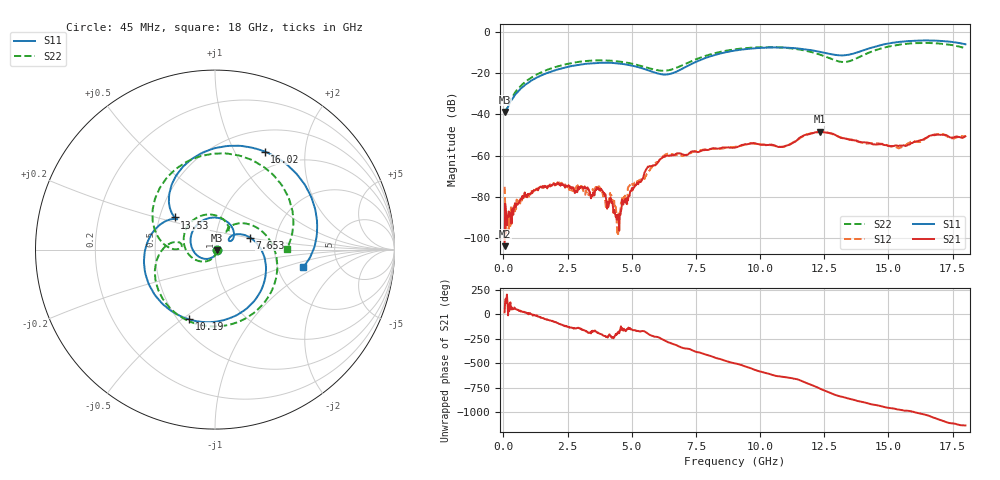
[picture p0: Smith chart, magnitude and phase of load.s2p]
!Agilent Technologies,E8364A,US41440284,A.06.04.32
!Agilent E8364A: A.06.04.32
!Date: Friday, December 06, 2019 10:02:57
!Correction: S11(Full 2 Port(1,2)) S21(Full 2 Port(1,2)) S12(Full 2 Port(1,2)) S22(Full 2 Port(1,2))
!S2P File: Measurements: S11, S21, S12, S22:
# Hz S  MA  R 50
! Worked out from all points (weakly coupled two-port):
!   801 points, 45 MHz to 18 GHz, reference 50 ohm
!   highest |S21| = -48.34 dB at 12.34 GHz (marker M1); lowest = -103.8 dB at 45 MHz (marker M2)
!   lowest |S11| = -38.8 dB at 45 MHz (marker M3), VSWR 1.02, Z = 51.1 - j0.371 ohm
!   |S11| at or under -10 dB: start of sweep to 8.612 GHz; 12.46 GHz to 13.77 GHz (1.314 GHz wide, 10 % of centre)
!   |S22| runs from -39.9 to -5.3 dB; largest |S21 - S12| = 0.00032
!   S11 on the Smith chart (normalised r, x): 45 MHz: 1.02, -0.01; 7.653 GHz: 1.47, +0.21; 10.19 GHz: 0.57, -0.53; 13.53 GHz: 0.60, +0.23; 16.02 GHz: 0.76, +1.33; 18 GHz: 2.79, -0.74
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4.5e7  0.01148 -18.4  6.438e-06 18.5  0.0001766 80.8  0.01008 -24.4
4.93875e8  0.03227 -90.8  6.739e-05 49.5  5.184e-05 35.5  0.03716 -93.8
1.032525e9  0.06295 -126.0  0.0001194 10.8  0.0001173 9.8  0.07415 -122.2
2.177156e9  0.1258 178.7  0.000198 -101.7  0.0002243 -100.4  0.1506 -170.7
3.052462e9  0.1639 137.3  0.000178 -160.9  0.0001667 -170.7  0.1923 152.2
3.45645e9  0.1741 118.3  0.0001035 178.2  0.0001377 -167.7  0.2021 134.8
3.680888e9  0.1774 107.7  0.0001555 172.4  0.0001773 168.7  0.2044 125.1
4.017544e9  0.1789 92.0  7.384e-05 125.8  7.987e-05 154.5  0.203 110.6
4.825519e9  0.161 56.6  9.494e-05 -153.9  6.695e-05 176.1  0.1786 77.8
5.61105e9  0.1191 31.4  0.0005292 164.7  0.0003705 166.4  0.1354 55.5
6.037481e9  0.0974 29.0  0.00072 123.1  0.000714 125.0  0.1169 53.0
7.653431e9  0.2068 18.9  0.001268 -31.7  0.001331 -32.2  0.2354 36.9
9.0225e9  0.3542 -48.8  0.001571 -141.7  0.001642 -141.8  0.3789 -27.4
1.018958e10  0.4147 -110.6  0.001841 122.4  0.001836 122.3  0.428 -87.0
1.095266e10  0.4166 -149.2  0.001676 80.3  0.00167 79.8  0.4138 -124.8
1.202996e10  0.3573 163.3  0.003492 -3.6  0.003524 -4.6  0.3214 -172.2
1.234418e10  0.3268 152.8  0.003826 -39.7  0.003761 -39.0  0.2805 177.2
1.353369e10  0.2872 141.4  0.002418 -144.4  0.00248 -145.3  0.2001 178.6
1.501498e10  0.5252 103.0  0.001726 126.0  0.001762 121.6  0.4426 138.0
1.602495e10  0.6125 63.1  0.002168 81.5  0.002215 76.6  0.5334 92.0
1.714714e10  0.5978 20.1  0.003206 -8.7  0.003309 -11.8  0.5113 41.3
1.8e10  0.5009 -11.4  0.002954 -53.3  0.003028 -57.0  0.3999 0.5
